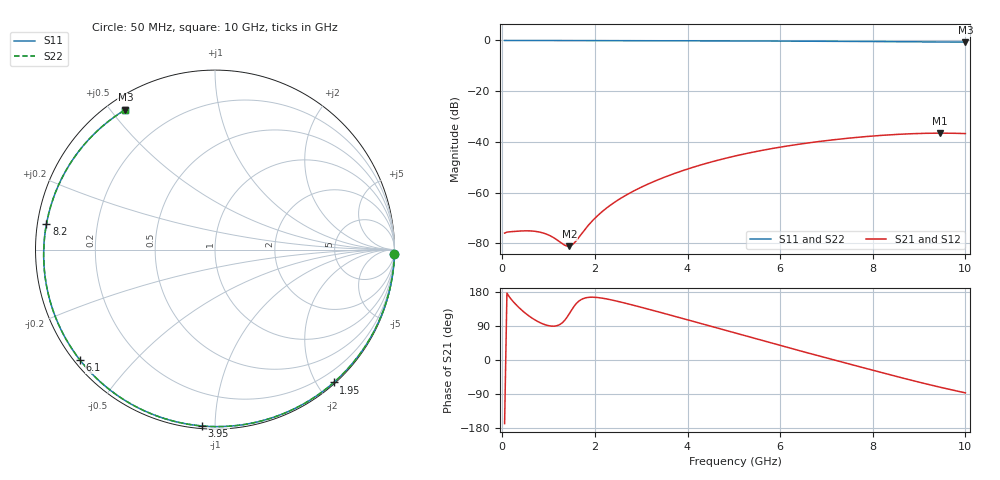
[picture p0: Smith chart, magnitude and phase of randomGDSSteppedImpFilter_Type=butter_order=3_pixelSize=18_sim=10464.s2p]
! freq	dB(S11)	phase(S11)	dB(S12)	phase(S12)
!  dB(S21)	phase(S21)	dB(S22)	phase(S22)
!S-par simulation data
#  GHz  S  DB  R 50
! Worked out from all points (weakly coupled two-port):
!   200 points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, 50 MHz to 10 GHz, reference 50 ohm
!   highest |S21| = -36.54 dB at 9.45 GHz (marker M1); lowest = -81.1 dB at 1.45 GHz (marker M2)
!   lowest |S11| = -0.7 dB at 10 GHz (marker M3), VSWR 25.99, Z = 2.5 + j27.3 ohm
!   |S11| at or under -10 dB: nowhere
!   |S22| runs from -0.7 to 0.0 dB; largest |S21 - S12| = 0
!   S11 on the Smith chart (normalised r, x): 50 MHz: 0, -90; 1.95 GHz: 0.02, -2.24; 3.95 GHz: 0.01, -0.93; 6.1 GHz: 0.02, -0.36; 8.2 GHz: 0.03, +0.07; 10 GHz: 0.05, +0.55
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0.05  -0.00 -1.3  -75.92 -167.8  -75.92 -167.8  -0.00 -1.3
0.4  -0.01 -10.1  -75.10 133.7  -75.10 133.7  -0.01 -10.1
0.75  -0.02 -18.9  -75.34 102.6  -75.34 102.6  -0.02 -18.9
1  -0.03 -25.1  -76.69 90.6  -76.69 90.6  -0.03 -25.0
1.3  -0.04 -32.4  -80.14 98.6  -80.14 98.6  -0.04 -32.4
1.45  -0.05 -36.1  -81.08 122.9  -81.08 122.9  -0.05 -36.1
1.55  -0.05 -38.5  -79.90 141.8  -79.90 141.8  -0.05 -38.5
1.75  -0.05 -43.4  -75.27 162.1  -75.27 162.1  -0.05 -43.4
1.95  -0.06 -48.2  -70.99 165.8  -70.99 165.8  -0.06 -48.2
2.2  -0.07 -54.1  -66.80 162.4  -66.80 162.4  -0.07 -54.1
2.55  -0.08 -62.4  -62.30 153.1  -62.30 153.1  -0.08 -62.4
3.4  -0.11 -81.9  -54.63 126.1  -54.63 126.1  -0.11 -81.9
3.95  -0.13 -94.2  -50.98 107.7  -50.98 107.7  -0.13 -94.1
5.05  -0.18 -118.1  -45.44 70.4  -45.44 70.4  -0.18 -118.1
6.1  -0.25 -140.8  -41.76 35.1  -41.76 35.1  -0.25 -140.7
6.7  -0.30 -153.9  -40.16 15.3  -40.16 15.3  -0.30 -153.8
7.45  -0.37 -170.7  -38.57 -9.2  -38.57 -9.2  -0.37 -170.6
8.2  -0.45 171.5  -37.40 -33.4  -37.40 -33.4  -0.45 171.6
8.35  -0.46 167.8  -37.22 -38.2  -37.22 -38.2  -0.46 167.9
8.9  -0.53 153.7  -36.72 -55.5  -36.72 -55.5  -0.53 153.9
9.45  -0.60 138.7  -36.54 -71.7  -36.54 -71.7  -0.60 138.9
10  -0.67 122.7  -36.70 -86.7  -36.70 -86.7  -0.67 122.9
